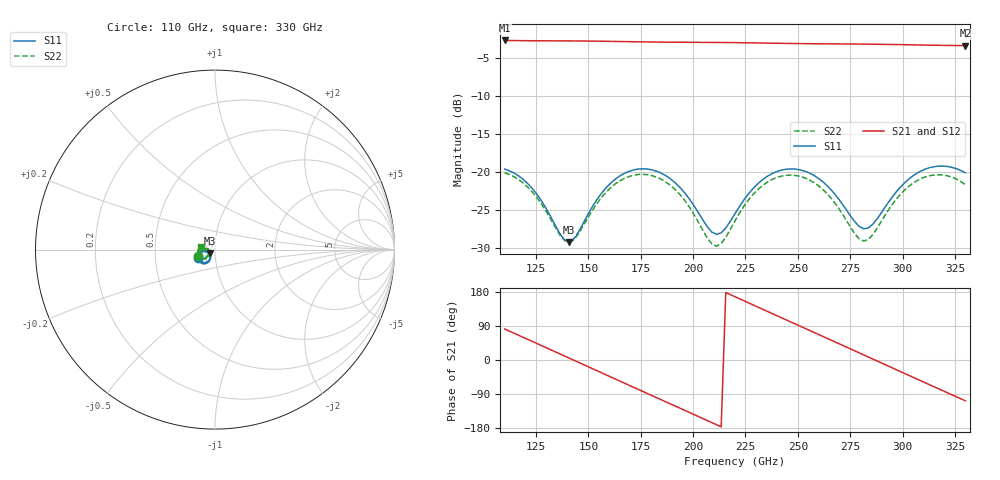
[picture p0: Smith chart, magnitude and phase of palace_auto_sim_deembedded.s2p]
! Created with skrf 1.11.0 (http://scikit-rf.org).
# GHz S DB R 50.0
!freq dBS11 angS11 dBS21 angS21 dBS12 angS12 dBS22 angS22
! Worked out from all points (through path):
!   101 points, 110 GHz to 330 GHz, reference 50 ohm
!   highest |S21| = -2.73 dB at 110 GHz (marker M1); lowest = -3.4 dB at 330 GHz (marker M2)
!   group delay of S21, straight-line fit = 6.94 ps
!   lowest |S11| = -29.2 dB at 140.8 GHz (marker M3), VSWR 1.07, Z = 47.2 - j1.86 ohm
!   |S11| at or under -10 dB: start of sweep to end of sweep
!   |S22| runs from -29.8 to -20.1 dB; largest |S21 - S12| = 8.1e-14
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110  -19.64 -152.5  -2.73 81.9  -2.73 81.9  -20.12 -159.9
127.6  -23.82 -176.0  -2.77 38.1  -2.77 38.1  -24.24 175.5
140.8  -29.21 -145.3  -2.79 5.1  -2.79 5.1  -29.28 -157.2
147.4  -26.84 -120.6  -2.80 -11.5  -2.80 -11.5  -27.17 -134.7
156.2  -22.84 -118.2  -2.83 -33.6  -2.83 -33.6  -23.39 -133.0
167.2  -20.20 -132.2  -2.88 -61.1  -2.88 -61.1  -20.86 -147.7
176  -19.60 -146.5  -2.91 -83.1  -2.91 -83.1  -20.33 -162.9
184.8  -20.18 -160.5  -2.94 -105.0  -2.94 -105.0  -20.98 -177.9
198  -23.49 -174.2  -2.97 -137.9  -2.97 -137.9  -24.54 166.6
209  -27.93 -156.9  -2.99 -165.4  -2.99 -165.4  -29.50 -174.6
213.4  -28.02 -138.4  -2.99 -176.4  -2.99 -176.4  -29.44 -153.8
220  -25.50 -121.3  -3.01 167.0  -3.01 167.0  -26.45 -137.0
228.8  -22.15 -121.5  -3.05 144.9  -3.05 144.9  -22.92 -139.6
239.8  -19.98 -134.8  -3.09 117.4  -3.09 117.4  -20.76 -155.2
248.6  -19.64 -148.0  -3.13 95.5  -3.13 95.5  -20.47 -169.9
257.4  -20.43 -160.4  -3.16 73.6  -3.16 73.6  -21.36 176.1
270.6  -23.99 -169.5  -3.18 40.6  -3.18 40.6  -25.26 164.9
281.6  -27.49 -145.3  -3.21 13.1  -3.21 13.1  -29.11 -168.6
294.8  -23.42 -117.0  -3.26 -20.0  -3.26 -20.0  -24.39 -141.7
312.4  -19.50 -133.2  -3.34 -64.0  -3.34 -64.0  -20.55 -163.0
321.2  -19.29 -145.3  -3.38 -85.9  -3.38 -85.9  -20.52 -177.8
330  -20.13 -156.3  -3.41 -107.8  -3.41 -107.8  -21.68 168.3
